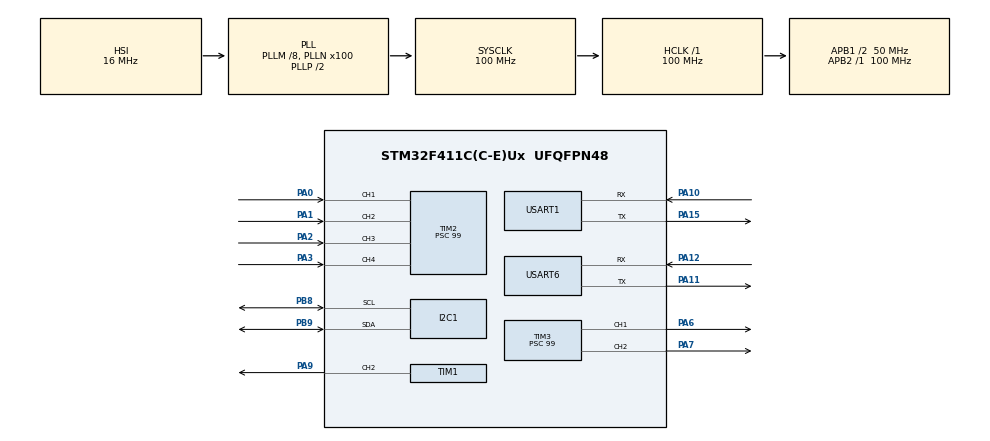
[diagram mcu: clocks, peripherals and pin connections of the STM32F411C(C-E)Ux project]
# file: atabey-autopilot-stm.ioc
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Mcu.Family=STM32F4
RCC.CortexFreq_Value=100000000
TIM2.Channel-Input_Capture1_from_TI1=TIM_CHANNEL_1
PA10.Mode=Asynchronous
PA11.Mode=Asynchronous
RCC.APB1CLKDivider=RCC_HCLK_DIV2
RCC.SYSCLKSource=RCC_SYSCLKSOURCE_PLLCLK
ProjectManager.StackSize=0x400
PA0-WKUP.Signal=S_TIM2_CH1_ETR
PA13.Signal=SYS_JTMS-SWDIO
SH.S_TIM2_CH2.0=TIM2_CH2,Input_Capture2_from_TI2
PA12.Signal=USART6_RX
TIM1.Prescaler=99
TIM2.ICPolarity_CH4=TIM_INPUTCHANNELPOLARITY_BOTHEDGE
TIM2.ICPolarity_CH3=TIM_INPUTCHANNELPOLARITY_BOTHEDGE
TIM2.ICPolarity_CH2=TIM_INPUTCHANNELPOLARITY_BOTHEDGE
TIM2.ICPolarity_CH1=TIM_INPUTCHANNELPOLARITY_BOTHEDGE
ProjectManager.TargetToolchain=STM32CubeIDE
RCC.HCLKFreq_Value=100000000
PB9.Mode=I2C
RCC.APB2TimFreq_Value=100000000
TIM3.Period=19999
PA9.Signal=S_TIM1_CH2
TIM1.Channel-PWM\ Generation2\ CH2=TIM_CHANNEL_2
TIM2.Channel-Input_Capture3_from_TI3=TIM_CHANNEL_3
RCC.LSE_VALUE=32768
PA1.Signal=S_TIM2_CH2
RCC.AHBFreq_Value=100000000
TIM3.Channel-PWM\ Generation1\ CH1=TIM_CHANNEL_1
SH.S_TIM3_CH2.0=TIM3_CH2,PWM Generation2 CH2
RCC.HSE_VALUE=25000000
board=custom
RCC.VCOOutputFreq_Value=200000000
PA15.Mode=Asynchronous
RCC.APB2Freq_Value=100000000
SH.S_TIM1_CH2.0=TIM1_CH2,PWM Generation2 CH2
VP_TIM2_VS_ClockSourceINT.Mode=Internal
SH.S_TIM2_CH3.0=TIM2_CH3,Input_Capture3_from_TI3
PA14.Mode=Serial_Wire
TIM3.Prescaler=99
NVIC.TIM2_IRQn=true\:0\:0\:false\:false\:true\:true\:true
TIM2.Channel-Input_Capture4_from_TI4=TIM_CHANNEL_4
SH.S_TIM3_CH1.0=TIM3_CH1,PWM Generation1 CH1
PA13.Mode=Serial_Wire
Mcu.Name=STM32F411C(C-E)Ux
VP_TIM1_VS_ClockSourceINT.Mode=Internal
PA2.Signal=S_TIM2_CH3
RCC.48MHZClocksFreq_Value=50000000
RCC.SYSCLKFreq_VALUE=100000000
Mcu.Package=UFQFPN48
PB9.Signal=I2C1_SDA
TIM2.Prescaler=99
PA6.Signal=S_TIM3_CH1
PA12.Mode=Asynchronous
USART6.VirtualMode=VM_ASYNC
USART1.VirtualMode=VM_ASYNC
TIM2.Channel-Input_Capture2_from_TI2=TIM_CHANNEL_2
PA11.Signal=USART6_TX
SH.S_TIM2_CH1_ETR.0=TIM2_CH1,Input_Capture1_from_TI1
PA10.Signal=USART1_RX
PA14.Signal=SYS_JTCK-SWCLK
PA15.Signal=USART1_TX
ProjectManager.HeapSize=0x200
SH.S_TIM2_CH4.0=TIM2_CH4,Input_Capture4_from_TI4
RCC.HSI_VALUE=16000000
NVIC.PriorityGroup=NVIC_PRIORITYGROUP_4
TIM3.Channel-PWM\ Generation2\ CH2=TIM_CHANNEL_2
RCC.PLLM=8
PB8.Mode=I2C
RCC.PLLN=100
RCC.APB1TimFreq_Value=100000000
PB8.Signal=I2C1_SCL
TIM1.Period=19999
RCC.APB1Freq_Value=50000000
VP_TIM3_VS_ClockSourceINT.Mode=Internal
PA3.Signal=S_TIM2_CH4
PA7.Signal=S_TIM3_CH2

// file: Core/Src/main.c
/* USER CODE BEGIN Header */
/**
  ******************************************************************************
  * @file           : main.c
  * @brief          : Main program body
  ******************************************************************************
  * @attention
  *
  * Copyright (c) 2026 STMicroelectronics.
  * All rights reserved.
  *
  * This software is licensed under terms that can be found in the LICENSE file
  * in the root directory of this software component.
  * If no LICENSE file comes with this software, it is provided AS-IS.
  *
  ******************************************************************************
  */
/* USER CODE END Header */
#include "main.h"

/* USER CODE BEGIN Includes */
#include "pwm_input.h"
#include "math_utils.h"
#include "rc.h"
#include "servo.h"
#include "control.h"
#include "ahrs.h"
/* USER CODE END Includes */

I2C_HandleTypeDef hi2c1;

TIM_HandleTypeDef htim1;
TIM_HandleTypeDef htim2;
TIM_HandleTypeDef htim3;

UART_HandleTypeDef huart1;
UART_HandleTypeDef huart6;

/* USER CODE BEGIN PV */
servo_output_t elevon_left;
servo_output_t elevon_right;
servo_output_t throttle_output;

float left_mix, right_mix;
uint16_t left_pwm, right_pwm, pitch_in, roll_in, throttle_pwm;
float pitch_command, roll_command, throttle_command, prev_pitch = 0, prev_roll = 0;

attitude_t attitude;
imu_data_t imu_value;
AttitudeController ctrl;

/* USER CODE END PV */

void SystemClock_Config(void);
static void MX_GPIO_Init(void);
static void MX_TIM2_Init(void);
static void MX_TIM3_Init(void);
static void MX_TIM1_Init(void);
static void MX_I2C1_Init(void);
static void MX_USART6_UART_Init(void);
static void MX_USART1_UART_Init(void);

int main(void)
{

  /* MCU Configuration--------------------------------------------------------*/

  /* Reset of all peripherals, Initializes the Flash interface and the Systick. */
  HAL_Init();

  /* Configure the system clock */
  SystemClock_Config();

  /* Initialize all configured peripherals */
  MX_GPIO_Init();
  MX_TIM2_Init();

  MX_TIM3_Init();
  MX_TIM1_Init();
  MX_I2C1_Init();
  MX_USART6_UART_Init();
  MX_USART1_UART_Init();
  /* USER CODE BEGIN 2 */

  pwm_input_init(&htim2);
  HAL_TIM_IC_Start_IT(&htim2, TIM_CHANNEL_1);
  HAL_TIM_IC_Start_IT(&htim2, TIM_CHANNEL_2);
  HAL_TIM_IC_Start_IT(&htim2, TIM_CHANNEL_3);
  HAL_TIM_IC_Start_IT(&htim2, TIM_CHANNEL_4);

  rc_init();

  servo_init(&elevon_left,  &htim3, PWM_CH_LEFT);
  servo_init(&elevon_right, &htim3, PWM_CH_RIGHT);
  servo_init(&throttle_output, &htim1, TIM_CHANNEL_2);

  init_controller(&ctrl);
  imu_init();
  ahrs_init();

  /* USER CODE END 2 */

  /* Infinite loop */
  /* USER CODE BEGIN WHILE */
  while (1)
  {
	  rc_update();

//	  if (rc_is_failsafe())
//	  {
//	      servo_write_us(&elevon_left, SERVO_US_MID);
//	      servo_write_us(&elevon_right, SERVO_US_MID);
//	      servo_write_us(&throttle_output, SERVO_US_MIN);
//	      continue;
//	  }

	  const rc_cmd_t *cmd = rc_get_cmd();
	  const float alpha = 0.6;
	  pitch_in  = (uint16_t) (1500.0f + cmd->pitch_cmd  * 500.0f);
	  roll_in = (uint16_t) (1500.0f + cmd->roll_cmd * 500.0f);

	  pitch_command = (pitch_in + roll_in - 2758)*0.4/560;
	  roll_command = (-pitch_in + roll_in - 77)*0.4/560 ;
	  throttle_command = ((float) (1000.0f +cmd->throttle_cmd  * 1000.0f)-1000.0)/880.0;

	  pitch_command = alpha*prev_pitch + (1-alpha)*pitch_command;
	  if ((-0.03 < pitch_command) &&  (pitch_command < 0.03)) pitch_command = 0.0f;
	  prev_pitch = pitch_command;

	  roll_command = alpha*prev_roll + (1-alpha)*roll_command;
	  if ((-0.03 < roll_command) &&  (roll_command < 0.03)) roll_command = 0.0f;
	  prev_roll = roll_command;

	  imu_read(&imu_value);
	  ahrs_update(&imu_value, imu_value.timestamp_us);

	  //roll ve pitch sensörden gelecek
	  float roll = attitude.roll;
	  float pitch = attitude.pitch;
	  float dt = 0.01f;   // for now, assuming 100 Hz loop

	  ControlOutput out = attitude_controller_update(
	      &ctrl,
	      roll,
	      pitch,
	      roll_command,
	      pitch_command,
	      throttle_command,
	      dt
	  );

	  float elevator_cmd = out.elevator;
	  float aileron_cmd  = out.aileron;

	  left_mix  = elevator_cmd + aileron_cmd;
	  right_mix = elevator_cmd - aileron_cmd;

	  left_pwm = (uint16_t)(1500.0f + left_mix * 500.0f);
	  right_pwm = (uint16_t)(1500.0f + right_mix * 500.0f);
	  throttle_pwm = (uint16_t)(1000.0f + cmd->throttle_cmd * 1000.0f);

	  servo_write_us(&elevon_left, left_pwm);
	  servo_write_us(&elevon_right, right_pwm);
	  servo_write_us(&throttle_output, throttle_pwm);
    /* USER CODE END WHILE */

  }
}

void SystemClock_Config(void)
{
  RCC_OscInitTypeDef RCC_OscInitStruct = {0};
  RCC_ClkInitTypeDef RCC_ClkInitStruct = {0};

  /** Configure the main internal regulator output voltage
  */
  __HAL_RCC_PWR_CLK_ENABLE();
  __HAL_PWR_VOLTAGESCALING_CONFIG(PWR_REGULATOR_VOLTAGE_SCALE1);
  /** Initializes the RCC Oscillators according to the specified parameters
  * in the RCC_OscInitTypeDef structure.
  */
  RCC_OscInitStruct.OscillatorType = RCC_OSCILLATORTYPE_HSI;
  RCC_OscInitStruct.HSIState = RCC_HSI_ON;
  RCC_OscInitStruct.HSICalibrationValue = RCC_HSICALIBRATION_DEFAULT;
  RCC_OscInitStruct.PLL.PLLState = RCC_PLL_ON;
  RCC_OscInitStruct.PLL.PLLSource = RCC_PLLSOURCE_HSI;
  RCC_OscInitStruct.PLL.PLLM = 8;
  RCC_OscInitStruct.PLL.PLLN = 100;
  RCC_OscInitStruct.PLL.PLLP = RCC_PLLP_DIV2;
  RCC_OscInitStruct.PLL.PLLQ = 4;
  if (HAL_RCC_OscConfig(&RCC_OscInitStruct) != HAL_OK)
  {
    Error_Handler();
  }
  /** Initializes the CPU, AHB and APB buses clocks
  */
  RCC_ClkInitStruct.ClockType = RCC_CLOCKTYPE_HCLK|RCC_CLOCKTYPE_SYSCLK
                              |RCC_CLOCKTYPE_PCLK1|RCC_CLOCKTYPE_PCLK2;
  RCC_ClkInitStruct.SYSCLKSource = RCC_SYSCLKSOURCE_PLLCLK;
  RCC_ClkInitStruct.AHBCLKDivider = RCC_SYSCLK_DIV1;
  RCC_ClkInitStruct.APB1CLKDivider = RCC_HCLK_DIV2;
  RCC_ClkInitStruct.APB2CLKDivider = RCC_HCLK_DIV1;

  if (HAL_RCC_ClockConfig(&RCC_ClkInitStruct, FLASH_LATENCY_3) != HAL_OK)
  {
    Error_Handler();
  }
}

static void MX_I2C1_Init(void)
{

  hi2c1.Instance = I2C1;
  hi2c1.Init.ClockSpeed = 100000;
  hi2c1.Init.DutyCycle = I2C_DUTYCYCLE_2;
  hi2c1.Init.OwnAddress1 = 0;
  hi2c1.Init.AddressingMode = I2C_ADDRESSINGMODE_7BIT;
  hi2c1.Init.DualAddressMode = I2C_DUALADDRESS_DISABLE;
  hi2c1.Init.OwnAddress2 = 0;
  hi2c1.Init.GeneralCallMode = I2C_GENERALCALL_DISABLE;
  hi2c1.Init.NoStretchMode = I2C_NOSTRETCH_DISABLE;
  if (HAL_I2C_Init(&hi2c1) != HAL_OK)
  {
    Error_Handler();
  }

}

static void MX_TIM1_Init(void)
{

  TIM_ClockConfigTypeDef sClockSourceConfig = {0};
  TIM_MasterConfigTypeDef sMasterConfig = {0};
  TIM_OC_InitTypeDef sConfigOC = {0};
  TIM_BreakDeadTimeConfigTypeDef sBreakDeadTimeConfig = {0};

  htim1.Instance = TIM1;
  htim1.Init.Prescaler = 99;
  htim1.Init.CounterMode = TIM_COUNTERMODE_UP;
  htim1.Init.Period = 19999;
  htim1.Init.ClockDivision = TIM_CLOCKDIVISION_DIV1;
  htim1.Init.RepetitionCounter = 0;
  htim1.Init.AutoReloadPreload = TIM_AUTORELOAD_PRELOAD_DISABLE;
  if (HAL_TIM_Base_Init(&htim1) != HAL_OK)
  {
    Error_Handler();
  }
  sClockSourceConfig.ClockSource = TIM_CLOCKSOURCE_INTERNAL;
  if (HAL_TIM_ConfigClockSource(&htim1, &sClockSourceConfig) != HAL_OK)
  {
    Error_Handler();
  }
  if (HAL_TIM_PWM_Init(&htim1) != HAL_OK)
  {
    Error_Handler();
  }
  sMasterConfig.MasterOutputTrigger = TIM_TRGO_RESET;
  sMasterConfig.MasterSlaveMode = TIM_MASTERSLAVEMODE_DISABLE;
  if (HAL_TIMEx_MasterConfigSynchronization(&htim1, &sMasterConfig) != HAL_OK)
  {
    Error_Handler();
  }
  sConfigOC.OCMode = TIM_OCMODE_PWM1;
  sConfigOC.Pulse = 0;
  sConfigOC.OCPolarity = TIM_OCPOLARITY_HIGH;
  sConfigOC.OCNPolarity = TIM_OCNPOLARITY_HIGH;
  sConfigOC.OCFastMode = TIM_OCFAST_DISABLE;
  sConfigOC.OCIdleState = TIM_OCIDLESTATE_RESET;
  sConfigOC.OCNIdleState = TIM_OCNIDLESTATE_RESET;
  if (HAL_TIM_PWM_ConfigChannel(&htim1, &sConfigOC, TIM_CHANNEL_2) != HAL_OK)
  {
    Error_Handler();
  }
  sBreakDeadTimeConfig.OffStateRunMode = TIM_OSSR_DISABLE;
  sBreakDeadTimeConfig.OffStateIDLEMode = TIM_OSSI_DISABLE;
  sBreakDeadTimeConfig.LockLevel = TIM_LOCKLEVEL_OFF;
  sBreakDeadTimeConfig.DeadTime = 0;
  sBreakDeadTimeConfig.BreakState = TIM_BREAK_DISABLE;
  sBreakDeadTimeConfig.BreakPolarity = TIM_BREAKPOLARITY_HIGH;
  sBreakDeadTimeConfig.AutomaticOutput = TIM_AUTOMATICOUTPUT_DISABLE;
  if (HAL_TIMEx_ConfigBreakDeadTime(&htim1, &sBreakDeadTimeConfig) != HAL_OK)
  {
    Error_Handler();
  }
  HAL_TIM_MspPostInit(&htim1);

}

static void MX_TIM2_Init(void)
{

  TIM_ClockConfigTypeDef sClockSourceConfig = {0};
  TIM_MasterConfigTypeDef sMasterConfig = {0};
  TIM_IC_InitTypeDef sConfigIC = {0};

  htim2.Instance = TIM2;
  htim2.Init.Prescaler = 99;
  htim2.Init.CounterMode = TIM_COUNTERMODE_UP;
  htim2.Init.Period = 4294967295;
  htim2.Init.ClockDivision = TIM_CLOCKDIVISION_DIV1;
  htim2.Init.AutoReloadPreload = TIM_AUTORELOAD_PRELOAD_DISABLE;
  if (HAL_TIM_Base_Init(&htim2) != HAL_OK)
  {
    Error_Handler();
  }
  sClockSourceConfig.ClockSource = TIM_CLOCKSOURCE_INTERNAL;
  if (HAL_TIM_ConfigClockSource(&htim2, &sClockSourceConfig) != HAL_OK)
  {
    Error_Handler();
  }
  if (HAL_TIM_IC_Init(&htim2) != HAL_OK)
  {
    Error_Handler();
  }
  sMasterConfig.MasterOutputTrigger = TIM_TRGO_RESET;
  sMasterConfig.MasterSlaveMode = TIM_MASTERSLAVEMODE_DISABLE;
  if (HAL_TIMEx_MasterConfigSynchronization(&htim2, &sMasterConfig) != HAL_OK)
  {
    Error_Handler();
  }
  sConfigIC.ICPolarity = TIM_INPUTCHANNELPOLARITY_BOTHEDGE;
  sConfigIC.ICSelection = TIM_ICSELECTION_DIRECTTI;
  sConfigIC.ICPrescaler = TIM_ICPSC_DIV1;
  sConfigIC.ICFilter = 0;
  if (HAL_TIM_IC_ConfigChannel(&htim2, &sConfigIC, TIM_CHANNEL_1) != HAL_OK)
  {
    Error_Handler();
  }
  if (HAL_TIM_IC_ConfigChannel(&htim2, &sConfigIC, TIM_CHANNEL_2) != HAL_OK)
  {
    Error_Handler();
  }
  if (HAL_TIM_IC_ConfigChannel(&htim2, &sConfigIC, TIM_CHANNEL_3) != HAL_OK)
  {
    Error_Handler();
  }
  if (HAL_TIM_IC_ConfigChannel(&htim2, &sConfigIC, TIM_CHANNEL_4) != HAL_OK)
  {
    Error_Handler();
  }

}

static void MX_TIM3_Init(void)
{

  TIM_ClockConfigTypeDef sClockSourceConfig = {0};
  TIM_MasterConfigTypeDef sMasterConfig = {0};
  TIM_OC_InitTypeDef sConfigOC = {0};

  htim3.Instance = TIM3;
  htim3.Init.Prescaler = 99;
  htim3.Init.CounterMode = TIM_COUNTERMODE_UP;
  htim3.Init.Period = 19999;
  htim3.Init.ClockDivision = TIM_CLOCKDIVISION_DIV1;
  htim3.Init.AutoReloadPreload = TIM_AUTORELOAD_PRELOAD_DISABLE;
  if (HAL_TIM_Base_Init(&htim3) != HAL_OK)
  {
    Error_Handler();
  }
  sClockSourceConfig.ClockSource = TIM_CLOCKSOURCE_INTERNAL;
  if (HAL_TIM_ConfigClockSource(&htim3, &sClockSourceConfig) != HAL_OK)
  {
    Error_Handler();
  }
  if (HAL_TIM_PWM_Init(&htim3) != HAL_OK)
  {
    Error_Handler();
  }
  sMasterConfig.MasterOutputTrigger = TIM_TRGO_RESET;
  sMasterConfig.MasterSlaveMode = TIM_MASTERSLAVEMODE_DISABLE;
  if (HAL_TIMEx_MasterConfigSynchronization(&htim3, &sMasterConfig) != HAL_OK)
  {
    Error_Handler();
  }
  sConfigOC.OCMode = TIM_OCMODE_PWM1;
  sConfigOC.Pulse = 0;
  sConfigOC.OCPolarity = TIM_OCPOLARITY_HIGH;
  sConfigOC.OCFastMode = TIM_OCFAST_DISABLE;
  if (HAL_TIM_PWM_ConfigChannel(&htim3, &sConfigOC, TIM_CHANNEL_1) != HAL_OK)
  {
    Error_Handler();
  }
  if (HAL_TIM_PWM_ConfigChannel(&htim3, &sConfigOC, TIM_CHANNEL_2) != HAL_OK)
  {
    Error_Handler();
  }
  HAL_TIM_MspPostInit(&htim3);

}

static void MX_USART1_UART_Init(void)
{

  huart1.Instance = USART1;
  huart1.Init.BaudRate = 115200;
  huart1.Init.WordLength = UART_WORDLENGTH_8B;
  huart1.Init.StopBits = UART_STOPBITS_1;
  huart1.Init.Parity = UART_PARITY_NONE;
  huart1.Init.Mode = UART_MODE_TX_RX;
  huart1.Init.HwFlowCtl = UART_HWCONTROL_NONE;
  huart1.Init.OverSampling = UART_OVERSAMPLING_16;
  if (HAL_UART_Init(&huart1) != HAL_OK)
  {
    Error_Handler();
  }

}

static void MX_USART6_UART_Init(void)
{

  huart6.Instance = USART6;
  huart6.Init.BaudRate = 115200;
  huart6.Init.WordLength = UART_WORDLENGTH_8B;
  huart6.Init.StopBits = UART_STOPBITS_1;
  huart6.Init.Parity = UART_PARITY_NONE;
  huart6.Init.Mode = UART_MODE_TX_RX;
  huart6.Init.HwFlowCtl = UART_HWCONTROL_NONE;
  huart6.Init.OverSampling = UART_OVERSAMPLING_16;
  if (HAL_UART_Init(&huart6) != HAL_OK)
  {
    Error_Handler();
  }

}

static void MX_GPIO_Init(void)
{

  /* GPIO Ports Clock Enable */
  __HAL_RCC_GPIOA_CLK_ENABLE();
  __HAL_RCC_GPIOB_CLK_ENABLE();

}

/* USER CODE BEGIN 4 */
void HAL_TIM_IC_CaptureCallback(TIM_HandleTypeDef *htim)
{
    pwm_input_capture_callback(htim);
}
/* USER CODE END 4 */

void Error_Handler(void)
{
  __disable_irq();
  while (1)
  {
  }
}

/************************ (C) COPYRIGHT STMicroelectronics *****END OF FILE****/
